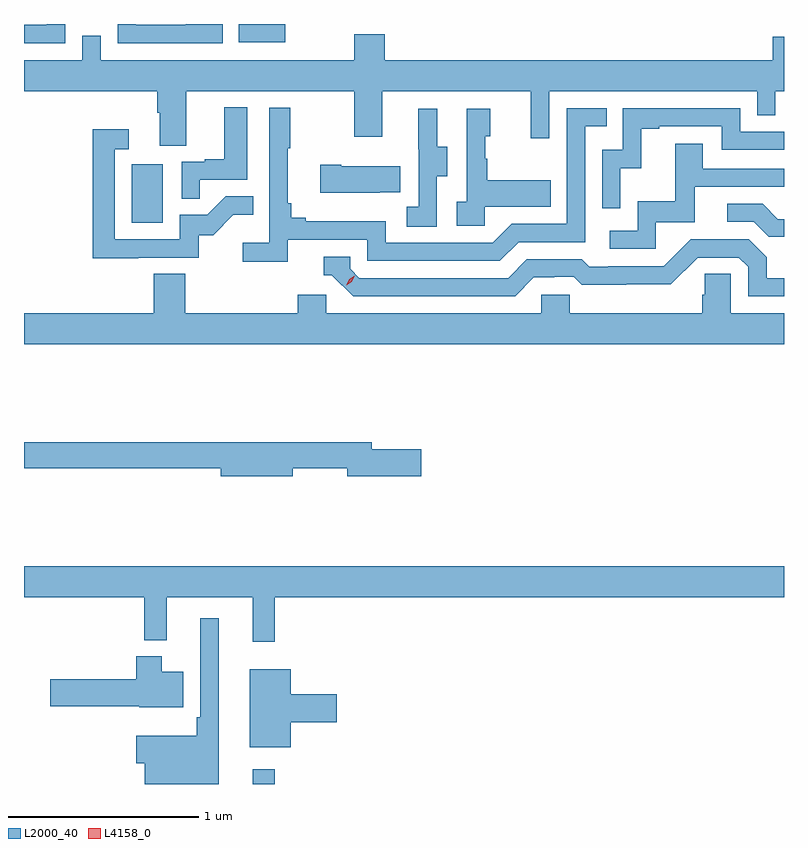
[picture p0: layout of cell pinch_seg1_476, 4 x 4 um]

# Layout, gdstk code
import gdstk
lib = gdstk.Library(unit=1e-6, precision=1e-09)
def R(c, l, rs):  # rectangles x0, y0, x1, y1
    for r in rs: c.add(gdstk.rectangle(r[:2], r[2:], *l))
def P(c, l, *ps):  # polygons
    for p in ps: c.add(gdstk.Polygon(p, *l))
L2000_40 = (2000, 40)
L4158_0 = (4158, 0)

pinch_seg1_476 = lib.new_cell('pinch_seg1_476')
R(pinch_seg1_476, L2000_40, [(1101.686,536.098,1101.803,536.176), (1101.05,539.052,1101.214,539.359), (1101.613,540.003,1101.859,540.098)])
P(pinch_seg1_476, L2000_40, [(1100.7,540.098),(1100.604,540.098),(1100.604,540.093),(1100.483,540.093),(1100.483,539.997),(1100.7,539.997)],
  [(1101.528,540.098),(1101.335,540.098),(1101.335,540.093),(1101.072,540.093),(1101.072,540.098),(1100.976,540.098),(1100.976,539.997),(1101.528,539.997)],
  [(1101.337,539.744),(1102.222,539.744),(1102.222,539.505),(1102.369,539.505),(1102.369,539.744),(1103.15,539.744),(1103.15,539.496),(1103.247,539.496),(1103.247,539.744),(1104.342,539.744),(1104.342,539.617),(1104.438,539.617),(1104.438,539.744),(1104.483,539.744),(1104.483,540.032),(1104.425,540.032),(1104.425,539.908),(1102.382,539.908),(1102.382,540.043),(1102.222,540.043),(1102.222,539.908),(1100.886,539.908),(1100.886,540.035),(1100.79,540.035),(1100.79,539.908),(1100.483,539.908),(1100.483,539.744),(1101.185,539.744),(1101.185,539.632),(1101.197,539.632),(1101.197,539.458),(1101.337,539.458)],
  [(1101.407,539.277),(1101.658,539.277),(1101.658,539.659),(1101.536,539.659),(1101.536,539.386),(1101.433,539.386),(1101.433,539.373),(1101.312,539.373),(1101.312,539.179),(1101.407,539.179)],
  [(1101.872,538.962),(1102.29,538.962),(1102.29,538.851),(1102.987,538.851),(1103.086,538.95),(1103.436,538.95),(1103.436,539.559),(1103.549,539.559),(1103.549,539.655),(1103.34,539.655),(1103.34,539.046),(1103.049,539.046),(1102.95,538.947),(1102.386,538.947),(1102.386,539.059),(1101.967,539.059),(1101.967,539.078),(1101.89,539.078),(1101.89,539.155),(1101.871,539.155),(1101.871,539.443),(1101.883,539.443),(1101.883,539.656),(1101.774,539.656),(1101.774,538.948),(1101.633,538.948),(1101.633,538.846),(1101.872,538.846)],
  [(1103.622,539.339),(1103.732,539.339),(1103.732,539.547),(1103.827,539.547),(1103.827,539.559),(1104.156,539.559),(1104.156,539.436),(1104.483,539.436),(1104.483,539.532),(1104.252,539.532),(1104.252,539.655),(1103.634,539.655),(1103.634,539.436),(1103.526,539.436),(1103.526,539.127),(1103.622,539.127)],
  [(1102.656,539.296),(1102.711,539.296),(1102.711,539.451),(1102.657,539.451),(1102.657,539.653),(1102.559,539.653),(1102.559,539.439),(1102.56,539.439),(1102.56,539.135),(1102.497,539.135),(1102.497,539.032),(1102.656,539.032)],
  [(1102.908,539.135),(1103.255,539.135),(1103.255,539.275),(1102.921,539.275),(1102.921,539.39),(1102.911,539.39),(1102.911,539.508),(1102.936,539.508),(1102.936,539.653),(1102.812,539.653),(1102.812,539.162),(1102.761,539.162),(1102.761,539.037),(1102.908,539.037)],
  [(1101.083,538.869),(1101.402,538.869),(1101.402,538.986),(1101.478,538.986),(1101.585,539.093),(1101.689,539.093),(1101.689,539.192),(1101.546,539.192),(1101.448,539.094),(1101.303,539.094),(1101.303,538.965),(1100.961,538.965),(1100.961,539.439),(1101.034,539.439),(1101.034,539.545),(1100.845,539.545),(1100.845,538.864),(1101.083,538.864)],
  [(1103.808,539.055),(1104.013,539.055),(1104.013,539.241),(1104.483,539.241),(1104.483,539.337),(1104.055,539.337),(1104.055,539.467),(1103.911,539.467),(1103.911,539.164),(1103.712,539.164),(1103.712,539.01),(1103.565,539.01),(1103.565,538.914),(1103.808,538.914)],
  [(1102.355,539.213),(1102.463,539.213),(1102.463,539.35),(1102.153,539.35),(1102.153,539.358),(1102.041,539.358),(1102.041,539.21),(1102.355,539.21)],
  [(1104.483,539.07),(1104.451,539.07),(1104.37,539.151),(1104.183,539.151),(1104.183,539.058),(1104.324,539.058),(1104.404,538.978),(1104.483,538.978)],
  [(1103.167,538.764),(1103.274,538.764),(1103.274,538.767),(1103.377,538.767),(1103.419,538.725),(1103.652,538.725),(1103.652,538.727),(1103.888,538.727),(1104.03,538.869),(1104.246,538.869),(1104.294,538.821),(1104.294,538.665),(1104.483,538.665),(1104.483,538.761),(1104.391,538.761),(1104.391,538.871),(1104.297,538.965),(1103.991,538.965),(1103.85,538.824),(1103.557,538.824),(1103.557,538.821),(1103.458,538.821),(1103.419,538.86),(1103.13,538.86),(1103.031,538.761),(1102.248,538.761),(1102.2,538.809),(1102.2,538.872),(1102.061,538.872),(1102.061,538.776),(1102.104,538.776),(1102.215,538.665),(1103.068,538.665)],
  [(1104.483,538.576),(1104.204,538.576),(1104.204,538.784),(1104.067,538.784),(1104.067,538.674),(1104.053,538.674),(1104.053,538.576),(1103.355,538.576),(1103.355,538.674),(1103.205,538.674),(1103.205,538.576),(1102.074,538.576),(1102.074,538.674),(1101.923,538.674),(1101.923,538.576),(1101.332,538.576),(1101.332,538.784),(1101.167,538.784),(1101.167,538.576),(1100.483,538.576),(1100.483,538.412),(1104.483,538.412)],
  [(1101.898,537.76),(1102.184,537.76),(1102.184,537.718),(1102.573,537.718),(1102.573,537.86),(1102.312,537.86),(1102.312,537.896),(1100.483,537.896),(1100.483,537.76),(1101.518,537.76),(1101.518,537.718),(1101.898,537.718)],
  [(1101.803,537.08),(1104.483,537.08),(1104.483,537.244),(1100.483,537.244),(1100.483,537.08),(1101.115,537.08),(1101.115,536.855),(1101.233,536.855),(1101.233,537.08),(1101.686,537.08),(1101.686,536.847),(1101.803,536.847)],
  [(1101.508,536.971),(1101.411,536.971),(1101.411,536.449),(1101.391,536.449),(1101.391,536.353),(1101.074,536.353),(1101.074,536.206),(1101.118,536.206),(1101.118,536.098),(1101.508,536.098)],
  [(1101.322,536.689),(1101.208,536.689),(1101.208,536.77),(1101.074,536.77),(1101.074,536.649),(1100.622,536.649),(1100.622,536.507),(1101.09,536.507),(1101.09,536.501),(1101.322,536.501)],
  [(1101.886,536.423),(1102.129,536.423),(1102.129,536.57),(1101.886,536.57),(1101.886,536.701),(1101.671,536.701),(1101.671,536.291),(1101.886,536.291)])
P(pinch_seg1_476, L4158_0, [(1102.178,538.722),(1102.178,538.722),(1102.194,538.755),(1102.225,538.774),(1102.225,538.774),(1102.225,538.774),(1102.209,538.741),(1102.178,538.722)])

lib.write_gds('pinch_seg1_476.gds')
